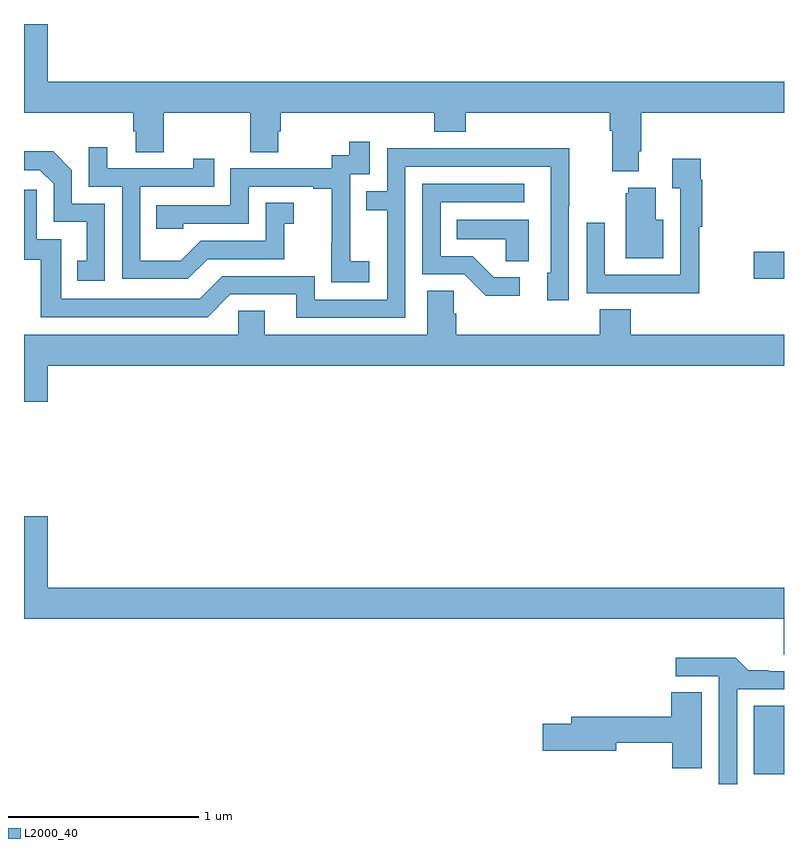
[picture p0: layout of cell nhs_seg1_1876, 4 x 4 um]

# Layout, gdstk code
import gdstk
lib = gdstk.Library(unit=1e-6, precision=1e-09)
def R(c, l, rs):  # rectangles x0, y0, x1, y1
    for r in rs: c.add(gdstk.rectangle(r[:2], r[2:], *l))
def P(c, l, *ps):  # polygons
    for p in ps: c.add(gdstk.Polygon(p, *l))
L2000_40 = (2000, 40)

nhs_seg1_1876 = lib.new_cell('nhs_seg1_1876')
R(nhs_seg1_1876, L2000_40, [(216.842,548.25,217,548.612), (216.84,550.858,217,551)])
P(nhs_seg1_1876, L2000_40, [(216.235,551.53),(216.248,551.53),(216.248,551.732),(217,551.732),(217,551.896),(213.124,551.896),(213.124,552.199),(213,552.199),(213,551.732),(213.575,551.732),(213.575,551.634),(213.587,551.634),(213.587,551.524),(213.735,551.524),(213.735,551.732),(214.192,551.732),(214.192,551.524),(214.339,551.524),(214.339,551.634),(214.352,551.634),(214.352,551.732),(215.159,551.732),(215.159,551.633),(215.324,551.633),(215.324,551.732),(216.083,551.732),(216.083,551.636),(216.095,551.636),(216.095,551.423),(216.235,551.423)],
  [(214.816,550.951),(214.718,550.951),(214.718,551.18),(214.716,551.18),(214.716,551.409),(214.821,551.409),(214.821,551.578),(214.713,551.578),(214.713,551.508),(214.62,551.508),(214.62,551.439),(214.086,551.439),(214.086,551.244),(213.697,551.244),(213.697,551.121),(213.837,551.121),(213.837,551.148),(214.182,551.148),(214.182,551.343),(214.523,551.343),(214.523,551.331),(214.619,551.331),(214.619,551.047),(214.618,551.047),(214.618,550.841),(214.816,550.841)],
  [(213.967,550.962),(214.371,550.962),(214.371,551.147),(214.42,551.147),(214.42,551.257),(214.272,551.257),(214.272,551.058),(213.93,551.058),(213.826,550.954),(213.612,550.954),(213.612,551.343),(214.001,551.343),(214.001,551.491),(213.89,551.491),(213.89,551.439),(213.439,551.439),(213.439,551.551),(213.342,551.551),(213.342,551.343),(213.516,551.343),(213.516,550.857),(213.862,550.857)],
  [(215.007,551.448),(215.772,551.448),(215.772,550.89),(215.753,550.89),(215.753,550.746),(215.868,550.746),(215.868,551.239),(215.871,551.239),(215.871,551.546),(215.407,551.546),(215.407,551.544),(214.911,551.544),(214.911,551.319),(214.801,551.319),(214.801,551.218),(214.911,551.218),(214.911,550.749),(214.53,550.749),(214.53,550.872),(214.044,550.872),(213.924,550.752),(213.195,550.752),(213.195,551.067),(213.066,551.067),(213.066,551.326),(213,551.326),(213,550.959),(213.087,550.959),(213.087,550.656),(213.966,550.656),(214.086,550.776),(214.433,550.776),(214.433,550.653),(215.007,550.653)],
  [(213.426,551.253),(213.252,551.253),(213.252,551.43),(213.154,551.528),(213,551.528),(213,551.43),(213.084,551.43),(213.156,551.358),(213.156,551.157),(213.329,551.157),(213.329,550.953),(213.28,550.953),(213.28,550.848),(213.426,550.848)],
  [(216.554,551.132),(216.569,551.132),(216.569,551.378),(216.562,551.378),(216.562,551.491),(216.413,551.491),(216.413,551.335),(216.453,551.335),(216.453,550.878),(216.057,550.878),(216.057,551.152),(215.961,551.152),(215.961,550.782),(216.277,550.782),(216.277,550.781),(216.554,550.781)],
  [(215.608,550.866),(215.473,550.866),(215.362,550.977),(215.193,550.977),(215.193,551.262),(215.632,551.262),(215.632,551.358),(215.097,551.358),(215.097,550.881),(215.316,550.881),(215.429,550.769),(215.608,550.769)],
  [(216.364,551.17),(216.325,551.17),(216.325,551.338),(216.179,551.338),(216.179,551.307),(216.167,551.307),(216.167,550.967),(216.364,550.967)],
  [(215.656,551.17),(215.278,551.17),(215.278,551.066),(215.535,551.066),(215.535,550.951),(215.656,550.951)],
  [(213.124,550.4),(217,550.4),(217,550.564),(216.194,550.564),(216.194,550.697),(216.029,550.697),(216.029,550.564),(215.276,550.564),(215.276,550.673),(215.262,550.673),(215.262,550.796),(215.123,550.796),(215.123,550.564),(214.267,550.564),(214.267,550.691),(214.128,550.691),(214.128,550.564),(213,550.564),(213,550.212),(213.124,550.212)],
  [(217,549.232),(213.124,549.232),(213.124,549.607),(213,549.607),(213,549.068),(216.998,549.068),(216.998,548.878),(217,548.878)],
  [(216.753,548.697),(217,548.697),(217,548.793),(216.919,548.793),(216.919,548.798),(216.811,548.798),(216.746,548.864),(216.429,548.864),(216.429,548.766),(216.657,548.766),(216.657,548.199),(216.753,548.199)],
  [(216.568,548.681),(216.407,548.681),(216.407,548.552),(215.879,548.552),(215.879,548.516),(215.73,548.516),(215.73,548.374),(216.118,548.374),(216.118,548.416),(216.412,548.416),(216.412,548.283),(216.568,548.283)])

lib.write_gds('nhs_seg1_1876.gds')
